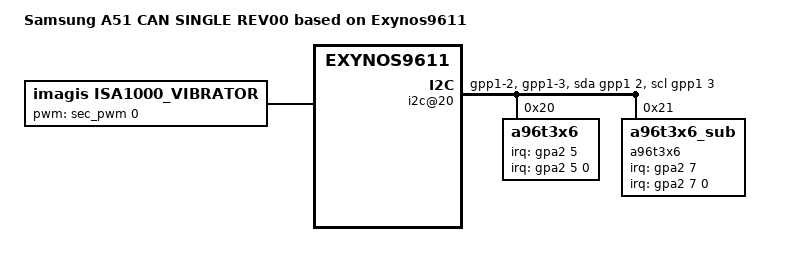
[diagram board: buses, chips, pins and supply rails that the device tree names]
/*
 * SAMSUNG EXYNOS9610 board device tree source
 *
 * Copyright (c) 2018 Samsung Electronics Co., Ltd.
 *		http://www.samsung.com
 *
 * This program is free software; you can redistribute it and/or modify
 * it under the terms of the GNU General Public License version 2 as
 * published by the Free Software Foundation.
 */

/dts-v1/;
/plugin/;
#include "exynos9611-a51_common.dtsi"
#include "battery_data_a51_usa_00.dtsi"
#include "exynos9611-a51_fingerprint_00.dtsi"
#include "exynos9611-a51_sensorhub_03.dtsi"
#include "exynos9611-a51_nfc_ese_03.dtsi"
#include "exynos9611-a51_can_single_gpio_00.dtsi"

/ {
	compatible = "samsung, A51 CAN SINGLE REV00", "samsung,EXYNOS9611";
	dtbo-hw_rev = <0>;
	dtbo-hw_rev_end = <255>;

	fragment@model {
		target-path = "/";
		__overlay__ {
			#address-cells = <2>;
			#size-cells = <1>;

			model = "Samsung A51 CAN SINGLE REV00 based on Exynos9611";

			mif_pdata {
				/* GPIOs for HW REV */
				/* XGPIO26-AP_REV0, XGPIO27-AP_REV1, XGPIO28-AP_REV2, XGPIO29-AP_REV3 */
				gpios = <&gpg3 2 0>, <&gpg3 3 0>, <&gpg3 4 0>, <&gpg3 5 0>;
				pinctrl-names = "default";
			};

			i2c@20 {
				compatible = "i2c-gpio";
				gpios = <&gpp1 2 0
						&gpp1 3 0>;
				i2c-gpio,delay-us = <2>;
				pinctrl-names = "default","on_i2c","off_i2c";
				pinctrl-0 = <&grip_i2c>;
				pinctrl-1 = <&grip_i2c>;
				pinctrl-2 = <&grip_gpio>;
				#address-cells = <1>;
				#size-cells = <0>;
				status = "okay";

				a96t3x6@20 {
					compatible = "a96t3x6";
					pinctrl-names = "default";
					pinctrl-0 = <&grip_int>;
					reg = <0x20>;
					interrupt-parent = <&gpa2>;
					interrupts = <5 0 0>;
					a96t3x6,irq_gpio = <&gpa2 5 0>;
					a96t3x6,ldo_en = <&gpg2 1 0>;
					a96t3x6,fw_path = "abov/a96t356_a51_usa.fw";
					a96t3x6,firmup_cmd = <0x3b>;
				};

				a96t3x6@21 {
					compatible = "a96t3x6_sub";
					pinctrl-names = "default";
					pinctrl-0 = <&grip_sub_int>;
					reg = <0x21>;
					interrupt-parent = <&gpa2>;
					interrupts = <7 0 0>;
					a96t3x6,irq_gpio = <&gpa2 7 0>;
					a96t3x6,ldo_en = <&gpg2 1 0>;
					a96t3x6,fw_path = "abov/a96t356_a51_usa_sub.fw";
					a96t3x6,firmup_cmd = <0x3b>;
				};
			};

			dc_vibrator {
				status = "disabled";
			};

			isa1000_vibrator {
				compatible = "imagis,isa1000_vibrator";
				status = "okay";
				pinctrl-names = "default";
				pinctrl-0 = <&vib_pwm &motor_en>;
				pwms = <&sec_pwm 0 50000 0>;
				isa1000,duty_ratio = <90>;
				isa1000,frequency = <2000>; /* 200.0Hz */
				isa1000,gpio_en = <&gpg2 5 1>;
				isa1000,motor_type = "LINEAR";
			};
		}; /* end of __overlay__ */
	}; /* end of fragment */
}; /* end of root */

&pinctrl_0 {
	earant_det: earant-det {
		samsung,pins ="gpa1-4";
		samsung,pin-function = <0xf>;
		samsung,pin-pud = <0>;
	};
	
	grip_int: grip-int {
		samsung,pins = "gpa2-5";
		samsung,pin-function = <0xf>;
		samsung,pin-pud = <0>;
	};
	
	grip_sub_int: grip-sub-int {
		samsung,pins = "gpa2-7";
		samsung,pin-function = <0xf>;
		samsung,pin-pud = <0>;
	};	
};

&pinctrl_4 {
	grip_i2c: grip-i2c {
		samsung,pins = "gpp1-2", "gpp1-3";
		samsung,pin-function = <2>;
		samsung,pin-pud = <0>;
	};

	grip_gpio: grip-gpio {
		samsung,pins = "gpp1-2", "gpp1-3";
		samsung,pin-function = <0>;
		samsung,pin-pud = <0>;
		samsung,pin-drv = <0>;
	};

	grip_ldo: grip-ldo {
		samsung,pins = "gpg2-1";
		samsung,pin-function = <1>;
		samsung,pin-pud = <0>;
		samsung,pin-val = <1>;
	};

	vib_pwm: vib-pwm {
		samsung,pins = "gpg4-1";
		samsung,pin-function = <2>;
		samsung,pin-pud = <1>;
		samsung,pin-drv = <0>;
		samsung,pin-con-pdn = <3>;
		samsung,pin-pud-pdn = <1>;
	};
};

&fimc_is_macro_module_gc5035 {
	gpio_reset = <&gpa0 4 0x1>; /* RCAM4_RST_N */
};
